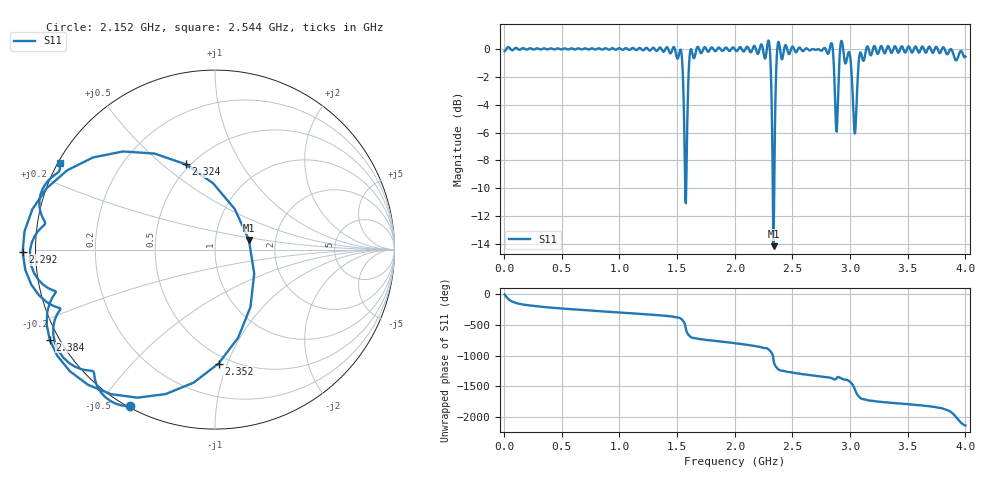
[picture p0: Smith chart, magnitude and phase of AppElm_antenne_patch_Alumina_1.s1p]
! TOUCHSTONE file generated by CST MICROWAVE STUDIO
! Date and time: Thu Jun  9 09:30:34 2022
! Project name: AppElm_antenne_patch_Alumina.cst
! Parameters = {L=30.5; W=41.8; e=0.035; h=1.6; lambda=0.190476; ls=90; w0=1.12; w1=0.2797; ws=90; y0=14; y1=10}
! Header version: 2018
! Port assignment regex: !\s*Touchstone port\s*([0-9]+)\s*=\s*(CST MWS port|CST DS port)\s*([0-9]+|Zmin|Zmax)\s*\(\"(.*)\"\)(\s*mode\s*([0-9]+))?.*
! Touchstone port assignment:
! Touchstone port 1 = CST MWS port 1 ("")
# GHz S MA R 50
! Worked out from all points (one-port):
!   1000 points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, 4 MHz to 4 GHz, reference 50 ohm
!   lowest |S11| = -14.1 dB at 2.336 GHz (marker M1), VSWR 1.49, Z = 72.7 + j8.13 ohm
!   |S11| at or under -10 dB: 1.57 GHz to 1.579 GHz (8.254 MHz wide, 0.524 % of centre); 2.33 GHz to 2.342 GHz (12.57 MHz wide, 0.538 % of centre)
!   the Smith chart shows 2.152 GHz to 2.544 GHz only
!   S11 on the Smith chart (normalised r, x): 2.152 GHz: 0.00, -0.59; 2.292 GHz: -0.03, -0.01; 2.324 GHz: 0.47, +0.60; 2.352 GHz: 0.44, -0.93; 2.384 GHz: -0.03, -0.25; 2.544 GHz: 0.01, +0.26
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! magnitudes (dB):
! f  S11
! 4 MHz  -0.2
! 504 MHz  0.0
! 1.004 GHz  0.0
! 1.504 GHz  -0.7
! 1.536 GHz  -0.2
! 1.564 GHz  -6.8
! 1.576 GHz  -11.1
! 1.608 GHz  -0.6
! 1.624 GHz  -0.1
! 2.004 GHz  -0.1
! 2.152 GHz  -0.1
! 2.292 GHz  0.6
! 2.304 GHz  0.0
! 2.324 GHz  -6.0
! 2.336 GHz  -14.1
! 2.352 GHz  -3.9
! 2.368 GHz  -0.1
! 2.384 GHz  0.4
! 2.504 GHz  0.2
! 2.544 GHz  -0.1
! 2.836 GHz  0.4
! 2.88 GHz  -5.8
! 2.924 GHz  0.6
! 3.004 GHz  -0.8
! 3.04 GHz  -6.1
! 3.092 GHz  -0.3
! 3.504 GHz  0.2
! 4 GHz  -0.6
